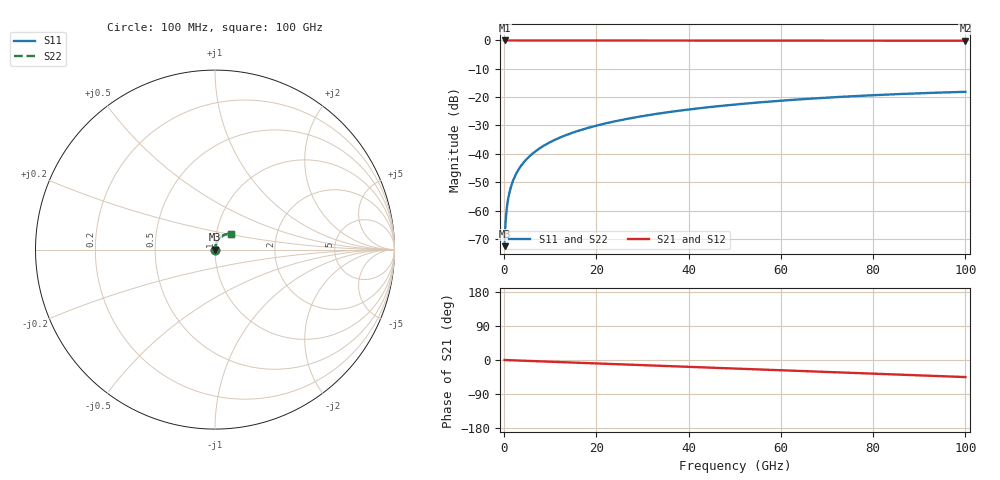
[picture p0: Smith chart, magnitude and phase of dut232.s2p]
! Touchstone file exported from HFSS 2026.1.0
!  File:  C:/ffzhzh/LocalFiles/Ansys_Project_Files/temp_train_TSV_232_1783508008_31944.aedt
!  Generated:  06:54:58 PM Jul  8, 2026
!  Design:  TSV
!  Project:  temp_train_TSV_232_1783508008_31944
! Variables:
!  h_bsmrdl = 2um
!  h_ox = 20um
!  h_rdl = 5um
!  h_sub = 86.96um
!  h_tmrdl = 5um
!  h_tsv = 86.96um
!  h_via = 3um
!  l_bsmrdl = 300um
!  l_sub = 421.16um
!  l_tmrdl = 200um
!  m_sub = 200um
!  pitch = 54.05um
!  r_tsv = 10.58um
!  s_tmrdl = 10um
!  w_bsmrdl = 18um
!  w_sub = 500um
!  w_tmrdl = 12um
!  x_tsv_center1 = 206um
!  x_tsv_center2 = 524um
!  x_tsv_center3 = 736um
!  x_tsv_center4 = 1054um
!  x_tsv_center5 = 1266um
!  x_tsv_center6 = 1584um
# GHz S MA R 50.000000
! Terminal data exported
! Port[1] = TSV1_1_T1
! Port[2] = TSV1_1_T2
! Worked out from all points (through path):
!   1000 points, 100 MHz to 100 GHz, reference 50 ohm
!   highest |S21| = 0.00 dB at 100 MHz (marker M1); lowest = -0.1 dB at 100 GHz (marker M2)
!   group delay of S21, straight-line fit = 1.25 ps
!   lowest |S11| = -72.6 dB at 100 MHz (marker M3), VSWR 1.00, Z = 50 + j0.0201 ohm
!   |S11| at or under -10 dB: start of sweep to end of sweep
!   |S22| runs from -72.6 to -18.1 dB; largest |S21 - S12| = 2.9e-15
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0.1  0.0002352 58.8  0.9999 -0.0  0.9999 -0.0  0.0002352 58.8
! Gamma 0 0 0 0
! Port Impedance 50 0 50 0
0.3  0.0006101 75.3  0.9998 -0.1  0.9998 -0.1  0.0006101 75.3
0.7  0.001324 79.3  0.9998 -0.3  0.9998 -0.3  0.001324 79.3
0.8  0.001493 79.8  0.9997 -0.4  0.9997 -0.4  0.001493 79.8
1  0.001828 80.5  0.9997 -0.5  0.9997 -0.5  0.001828 80.5
1.3  0.002324 81.3  0.9997 -0.6  0.9997 -0.6  0.002324 81.3
1.7  0.002981 82.1  0.9996 -0.8  0.9996 -0.8  0.002981 82.1
2.3  0.003958 82.7  0.9996 -1.1  0.9996 -1.1  0.003958 82.7
3  0.005087 83.1  0.9995 -1.4  0.9995 -1.4  0.005087 83.1
3.8  0.006366 83.2  0.9994 -1.7  0.9994 -1.7  0.006366 83.2
4.8  0.007952 83.3  0.9993 -2.2  0.9993 -2.2  0.007952 83.3
6  0.009845 83.2  0.9993 -2.7  0.9993 -2.7  0.009845 83.2
8.8  0.01423 82.6  0.9991 -4.0  0.9991 -4.0  0.01423 82.6
12.4  0.01982 81.4  0.9988 -5.6  0.9988 -5.6  0.01982 81.4
16.8  0.02657 79.8  0.9985 -7.6  0.9985 -7.6  0.02657 79.8
24.2  0.03774 76.9  0.9979 -11.0  0.9979 -11.0  0.03774 76.9
33.4  0.05122 73.1  0.997 -15.1  0.997 -15.1  0.05122 73.0
41.2  0.0622 69.7  0.9962 -18.6  0.9962 -18.6  0.0622 69.7
50.1  0.07414 65.9  0.9952 -22.6  0.9952 -22.6  0.07414 65.8
66.7  0.09434 58.6  0.9932 -30.1  0.9932 -30.1  0.09434 58.6
83.4  0.1113 51.3  0.9911 -37.6  0.9911 -37.6  0.1114 51.2
100  0.1242 44.0  0.9892 -45.0  0.9892 -45.0  0.1242 43.9
